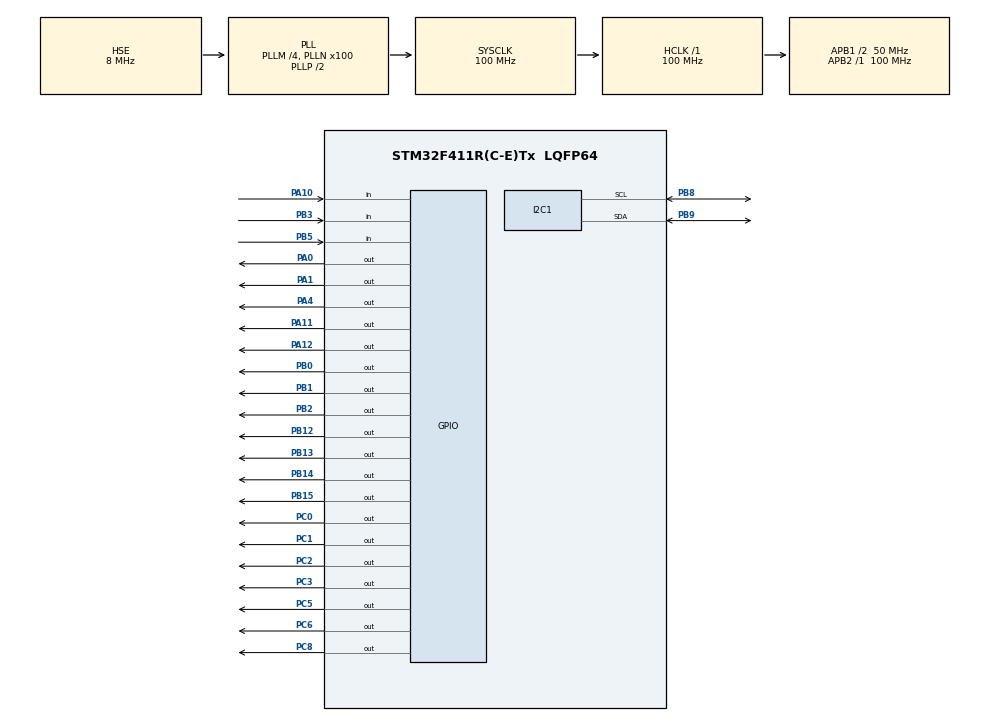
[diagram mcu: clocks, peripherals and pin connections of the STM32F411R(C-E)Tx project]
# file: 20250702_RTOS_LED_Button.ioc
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FREERTOS.Mutexes01=LcdMutex,Dynamic,NULL,Available
FREERTOS.Queues01=btnLedQueue,16,uint16_t,0,Dynamic,NULL,NULL
FREERTOS.Tasks01=defaultTask,0,128,StartDefaultTask,Default,NULL,Dynamic,NULL,NULL;nyButtonTask,0,128,StartButtonTask,Default,NULL,Dynamic,NULL,NULL;myLedTask,0,128,StartLedTask,Default,NULL,Dynamic,NULL,NULL;myFNDTask,0,128,StartFNDTask,Default,NULL,Dynamic,NULL,NULL
FREERTOS.configUSE_NEWLIB_REENTRANT=1
Mcu.Family=STM32F4
Mcu.Name=STM32F411R(C-E)Tx
Mcu.Package=LQFP64
NVIC.PriorityGroup=NVIC_PRIORITYGROUP_4
NVIC.TIM1_TRG_COM_TIM11_IRQn=true\:15\:0\:false\:false\:true\:false\:false\:true\:true
NVIC.TIM2_IRQn=true\:5\:0\:false\:false\:true\:true\:true\:true\:true
NVIC.TimeBase=TIM1_TRG_COM_TIM11_IRQn
NVIC.TimeBaseIP=TIM11
PA0-WKUP.Signal=GPIO_Output
PA1.Signal=GPIO_Output
PA10.Signal=GPIO_Input
PA11.Signal=GPIO_Output
PA12.Signal=GPIO_Output
PA13.Mode=Serial_Wire
PA13.Signal=SYS_JTMS-SWDIO
PA14.Mode=Serial_Wire
PA14.Signal=SYS_JTCK-SWCLK
PA4.Signal=GPIO_Output
PB0.Signal=GPIO_Output
PB1.Signal=GPIO_Output
PB12.Signal=GPIO_Output
PB13.Signal=GPIO_Output
PB14.Signal=GPIO_Output
PB15.Signal=GPIO_Output
PB2.Signal=GPIO_Output
PB3.Signal=GPIO_Input
PB5.Signal=GPIO_Input
PB8.Mode=I2C
PB8.Signal=I2C1_SCL
PB9.Mode=I2C
PB9.Signal=I2C1_SDA
PC0.Signal=GPIO_Output
PC1.Signal=GPIO_Output
PC2.Signal=GPIO_Output
PC3.Signal=GPIO_Output
PC5.Signal=GPIO_Output
PC6.Signal=GPIO_Output
PC8.Signal=GPIO_Output
PH0\ -\ OSC_IN.Mode=HSE-External-Oscillator
PH0\ -\ OSC_IN.Signal=RCC_OSC_IN
PH1\ -\ OSC_OUT.Mode=HSE-External-Oscillator
PH1\ -\ OSC_OUT.Signal=RCC_OSC_OUT
ProjectManager.HeapSize=0x200
ProjectManager.StackSize=0x400
ProjectManager.TargetToolchain=STM32CubeIDE
RCC.48MHZClocksFreq_Value=50000000
RCC.AHBFreq_Value=100000000
RCC.APB1CLKDivider=RCC_HCLK_DIV2
RCC.APB1Freq_Value=50000000
RCC.APB1TimFreq_Value=100000000
RCC.APB2Freq_Value=100000000
RCC.APB2TimFreq_Value=100000000
RCC.CortexFreq_Value=100000000
RCC.HCLKFreq_Value=100000000
RCC.HSE_VALUE=8000000
RCC.HSI_VALUE=16000000
RCC.LSE_VALUE=32768
RCC.PLLM=4
RCC.PLLN=100
RCC.PLLSourceVirtual=RCC_PLLSOURCE_HSE
RCC.SYSCLKFreq_VALUE=100000000
RCC.SYSCLKSource=RCC_SYSCLKSOURCE_PLLCLK
RCC.VCOOutputFreq_Value=200000000
TIM2.AutoReloadPreload=TIM_AUTORELOAD_PRELOAD_ENABLE
TIM2.Period=1000-1
TIM2.Prescaler=100-1
VP_FREERTOS_VS_CMSIS_V1.Mode=CMSIS_V1
VP_SYS_VS_tim11.Mode=TIM11
VP_TIM2_VS_ClockSourceINT.Mode=Internal
board=custom

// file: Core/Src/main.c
/* USER CODE BEGIN Header */
/**
  ******************************************************************************
  * @file           : main.c
  * @brief          : Main program body
  ******************************************************************************
  * @attention
  *
  * Copyright (c) 2025 STMicroelectronics.
  * All rights reserved.
  *
  * This software is licensed under terms that can be found in the LICENSE file
  * in the root directory of this software component.
  * If no LICENSE file comes with this software, it is provided AS-IS.
  *
  ******************************************************************************
  */
/* USER CODE END Header */
#include "main.h"
#include "cmsis_os.h"
#include "i2c.h"
#include "tim.h"
#include "gpio.h"
#include "FND.h"

void SystemClock_Config(void);
void MX_FREERTOS_Init(void);

int main(void)
{

  /* MCU Configuration--------------------------------------------------------*/

  /* Reset of all peripherals, Initializes the Flash interface and the Systick. */
  HAL_Init();

  /* Configure the system clock */
  SystemClock_Config();

  /* Initialize all configured peripherals */
  MX_GPIO_Init();
  MX_I2C1_Init();
  MX_TIM2_Init();

  /* Call init function for freertos objects (in cmsis_os2.c) */
  MX_FREERTOS_Init();

  /* Start scheduler */
  osKernelStart();

  /* We should never get here as control is now taken by the scheduler */

  /* Infinite loop */
  while (1)
  {

  }
}

void SystemClock_Config(void)
{
  RCC_OscInitTypeDef RCC_OscInitStruct = {0};
  RCC_ClkInitTypeDef RCC_ClkInitStruct = {0};

  /** Configure the main internal regulator output voltage
  */
  __HAL_RCC_PWR_CLK_ENABLE();
  __HAL_PWR_VOLTAGESCALING_CONFIG(PWR_REGULATOR_VOLTAGE_SCALE1);

  /** Initializes the RCC Oscillators according to the specified parameters
  * in the RCC_OscInitTypeDef structure.
  */
  RCC_OscInitStruct.OscillatorType = RCC_OSCILLATORTYPE_HSE;
  RCC_OscInitStruct.HSEState = RCC_HSE_ON;
  RCC_OscInitStruct.PLL.PLLState = RCC_PLL_ON;
  RCC_OscInitStruct.PLL.PLLSource = RCC_PLLSOURCE_HSE;
  RCC_OscInitStruct.PLL.PLLM = 4;
  RCC_OscInitStruct.PLL.PLLN = 100;
  RCC_OscInitStruct.PLL.PLLP = RCC_PLLP_DIV2;
  RCC_OscInitStruct.PLL.PLLQ = 4;
  if (HAL_RCC_OscConfig(&RCC_OscInitStruct) != HAL_OK)
  {
    Error_Handler();
  }

  /** Initializes the CPU, AHB and APB buses clocks
  */
  RCC_ClkInitStruct.ClockType = RCC_CLOCKTYPE_HCLK|RCC_CLOCKTYPE_SYSCLK
                              |RCC_CLOCKTYPE_PCLK1|RCC_CLOCKTYPE_PCLK2;
  RCC_ClkInitStruct.SYSCLKSource = RCC_SYSCLKSOURCE_PLLCLK;
  RCC_ClkInitStruct.AHBCLKDivider = RCC_SYSCLK_DIV1;
  RCC_ClkInitStruct.APB1CLKDivider = RCC_HCLK_DIV2;
  RCC_ClkInitStruct.APB2CLKDivider = RCC_HCLK_DIV1;

  if (HAL_RCC_ClockConfig(&RCC_ClkInitStruct, FLASH_LATENCY_3) != HAL_OK)
  {
    Error_Handler();
  }
}

void HAL_TIM_PeriodElapsedCallback(TIM_HandleTypeDef *htim)
{
  if (htim->Instance == TIM11)
  {
    HAL_IncTick();
  }

  /* USER CODE BEGIN Callback 1 */
	  if(htim->Instance == TIM2) {
		 FND_DispDataCallBack();
	  }
  /* USER CODE END Callback 1 */
}

void Error_Handler(void)
{
  __disable_irq();
  while (1)
  {
  }
}

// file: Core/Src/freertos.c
/* USER CODE BEGIN Header */
/**
  ******************************************************************************
  * File Name          : freertos.c
  * Description        : Code for freertos applications
  ******************************************************************************
  * @attention
  *
  * Copyright (c) 2025 STMicroelectronics.
  * All rights reserved.
  *
  * This software is licensed under terms that can be found in the LICENSE file
  * in the root directory of this software component.
  * If no LICENSE file comes with this software, it is provided AS-IS.
  *
  ******************************************************************************
  */
/* USER CODE END Header */

#include "FreeRTOS.h"
#include "task.h"
#include "main.h"
#include "cmsis_os.h"

/* USER CODE BEGIN Includes */
#include "Button.h"
#include "LedBar.h"
#include "my_queue.h"
#include "lcd.h"
#include <stdio.h>
#include "tim.h"
#include "FND.h"
/* USER CODE END Includes */

/* USER CODE BEGIN PTD */
typedef struct {
	int id;
}btn_led_t;

enum {BTN_LED1, BTN_LED2, BTN_LED3};
enum {START, STOP, CLEAR};
/* USER CODE END PTD */

/* USER CODE BEGIN Variables */

//btn_led_t btnData;

osMailQDef(btnMail, 4, btn_led_t);
osMailQId btnMail;

osMailQDef(btnFndMail, 4, btn_led_t);
osMailQId btnFndMail;

/* USER CODE END Variables */
osThreadId defaultTaskHandle;
osThreadId nyButtonTaskHandle;
osThreadId myLedTaskHandle;
osThreadId myFNDTaskHandle;
osMessageQId btnLedQueueHandle;
osMutexId LcdMutexHandle;

void StartDefaultTask(void const * argument);
void StartButtonTask(void const * argument);
void StartLedTask(void const * argument);
void StartFNDTask(void const * argument);

void MX_FREERTOS_Init(void); /* (MISRA C 2004 rule 8.1) */

/* GetIdleTaskMemory prototype (linked to static allocation support) */
void vApplicationGetIdleTaskMemory( StaticTask_t **ppxIdleTaskTCBBuffer, StackType_t **ppxIdleTaskStackBuffer, uint32_t *pulIdleTaskStackSize );

/* USER CODE BEGIN GET_IDLE_TASK_MEMORY */
static StaticTask_t xIdleTaskTCBBuffer;
static StackType_t xIdleStack[configMINIMAL_STACK_SIZE];

void vApplicationGetIdleTaskMemory( StaticTask_t **ppxIdleTaskTCBBuffer, StackType_t **ppxIdleTaskStackBuffer, uint32_t *pulIdleTaskStackSize )
{
  *ppxIdleTaskTCBBuffer = &xIdleTaskTCBBuffer;
  *ppxIdleTaskStackBuffer = &xIdleStack[0];
  *pulIdleTaskStackSize = configMINIMAL_STACK_SIZE;
  /* place for user code */
}
/* USER CODE END GET_IDLE_TASK_MEMORY */

void MX_FREERTOS_Init(void) {
  /* Create the mutex(es) */
  /* definition and creation of LcdMutex */
  osMutexDef(LcdMutex);
  LcdMutexHandle = osMutexCreate(osMutex(LcdMutex));

  /* Create the queue(s) */
  /* definition and creation of btnLedQueue */
  osMessageQDef(btnLedQueue, 16, uint16_t);
  btnLedQueueHandle = osMessageCreate(osMessageQ(btnLedQueue), NULL);

  /* USER CODE BEGIN RTOS_QUEUES */
  /* add queues, ... */
  btnMail = osMailCreate(osMailQ(btnMail), NULL);
  btnFndMail = osMailCreate(osMailQ(btnFndMail), NULL);
  /* USER CODE END RTOS_QUEUES */

  /* Create the thread(s) */
  /* definition and creation of defaultTask */
  osThreadDef(defaultTask, StartDefaultTask, osPriorityNormal, 0, 128);
  defaultTaskHandle = osThreadCreate(osThread(defaultTask), NULL);

  /* definition and creation of nyButtonTask */
  osThreadDef(nyButtonTask, StartButtonTask, osPriorityNormal, 0, 128);
  nyButtonTaskHandle = osThreadCreate(osThread(nyButtonTask), NULL);

  /* definition and creation of myLedTask */
  osThreadDef(myLedTask, StartLedTask, osPriorityNormal, 0, 128);
  myLedTaskHandle = osThreadCreate(osThread(myLedTask), NULL);

  /* definition and creation of myFNDTask */
  osThreadDef(myFNDTask, StartFNDTask, osPriorityNormal, 0, 128);
  myFNDTaskHandle = osThreadCreate(osThread(myFNDTask), NULL);

  /* USER CODE BEGIN RTOS_THREADS */
  /* add threads, ... */
  HAL_TIM_Base_Start_IT(&htim2);
  /* USER CODE END RTOS_THREADS */

}

void StartDefaultTask(void const * argument)
{
  for(;;)
  {
    osDelay(1);
  }
}

void StartButtonTask(void const * argument)
{
  /* USER CODE BEGIN StartButtonTask */
	  Button_Init(&hBtnLed1, GPIOB, GPIO_PIN_5);
	  Button_Init(&hBtnLed2, GPIOB, GPIO_PIN_3);
	  Button_Init(&hBtnLed3, GPIOA, GPIO_PIN_10);
	  MyQue_Init(&qBtnLed, sizeof(btn_led_t));
	  LCD_Init(&hi2c1);
	  btn_led_t *btnData;
	  btn_led_t *btnFndData;

	  char str[30];
	  uint32_t counter = 0;
  /* Infinite loop */
  for(;;)
  {
	  if(Button_GetState(&hBtnLed1) == ACT_RELEASED)
	  {	  btnData= osMailAlloc(btnMail, osWaitForever);
	  	  btnFndData= osMailAlloc(btnFndMail, osWaitForever);
		  btnData->id = BTN_LED1;
		  btnFndData->id = START;
		  osMailPut(btnMail, btnData);
		  osMailPut(btnFndMail, btnFndData);

	        osMutexWait(LcdMutexHandle, osWaitForever);
	        LCD_writeStringXY(0, 0, "BTN1");
	        osMutexRelease(LcdMutexHandle);
	  }

	  else if(Button_GetState(&hBtnLed2) == ACT_RELEASED)
	  {
		  btnData= osMailAlloc(btnMail, osWaitForever);
		  btnFndData= osMailAlloc(btnFndMail, osWaitForever);
		  		  btnData->id = BTN_LED2;
		  		btnFndData->id = STOP;
		  		  osMailPut(btnMail, btnData);
		  		osMailPut(btnFndMail, btnFndData);

		  osMutexWait(LcdMutexHandle, osWaitForever);
		  LCD_writeStringXY(0, 0, "BTN2");
		  osMutexRelease(LcdMutexHandle);
	  }
	  else if(Button_GetState(&hBtnLed3) == ACT_RELEASED)
	  {
		  btnData= osMailAlloc(btnMail, osWaitForever);
		  btnFndData= osMailAlloc(btnFndMail, osWaitForever);

		  		  btnData->id = BTN_LED3;
		  		btnFndData->id = CLEAR;

		  		  osMailPut(btnMail, btnData);
		  		  osMailPut(btnFndMail, btnFndData);

		  		osMutexWait(LcdMutexHandle, osWaitForever);
		  LCD_writeStringXY(0, 0, "BTN3");
		  osMutexRelease(LcdMutexHandle);
	  }
	  sprintf(str, "counter %d", (unsigned int)counter ++);
	  osMutexWait(LcdMutexHandle, osWaitForever);
	  LCD_writeStringXY(0, 5, str);
	  osMutexRelease(LcdMutexHandle);
    osDelay(100);
  }
  /* USER CODE END StartButtonTask */
}

void StartLedTask(void const * argument)
{
  /* USER CODE BEGIN StartLedTask */
	uint32_t prevTime = 0 , curTime = 0;
	btn_led_t *btnData;
	uint32_t ledData;
	osEvent evt;
	  char str[30];
	  uint32_t counter = 0;
  /* Infinite loop */
  for(;;)
  {		curTime = HAL_GetTick();
  	  	  if(curTime - prevTime >= 500) {
  	  		  prevTime = curTime;
  	  		  ledData ^= (1<<0);
  	  		  LedBar_Write(ledData);
  	  	  }
  	  evt = osMailGet(btnMail, 0);
  	  if(evt.status == osEventMail)
  	  {
  		  btnData = evt.value.p;
		  if(btnData->id == BTN_LED1){
			  ledData ^= (1<<1);
			  LedBar_Write(ledData);
			  osMutexWait(LcdMutexHandle, osWaitForever);
			  LCD_writeStringXY(1, 0, "LED1");
			  osMutexRelease(LcdMutexHandle);
		  }
		  else if (btnData->id == BTN_LED2) {
			  ledData ^= (1<<2);
			  LedBar_Write(ledData);
			  osMutexWait(LcdMutexHandle, osWaitForever);
			  LCD_writeStringXY(1, 0, "LED2");
			  osMutexRelease(LcdMutexHandle);

		  }
		  else if (btnData->id == BTN_LED3) {
			  ledData ^= (1<<3);
			  LedBar_Write(ledData);
			  osMutexWait(LcdMutexHandle, osWaitForever);
			  LCD_writeStringXY(1, 0, "LED3");
			  osMutexRelease(LcdMutexHandle);
		  }
		  osMailFree(btnMail, btnData);
	  }
	  sprintf(str, "counter %d", (unsigned int)counter ++);
	  osMutexWait(LcdMutexHandle, osWaitForever);
	  LCD_writeStringXY(1, 5, str);
	  osMutexRelease(LcdMutexHandle);
    osDelay(100);
  }
  /* USER CODE END StartLedTask */
}

void StartFNDTask(void const * argument)
{
  /* USER CODE BEGIN StartFNDTask */
	uint16_t counter = 0;
	uint32_t state = STOP;
	btn_led_t *btnFndData;
  /* Infinite loop */
  for(;;)
  {

	  FND_WriteData(counter);
	  osEvent evt;

       evt = osMailGet(btnFndMail, 0);
      	  if(evt.status == osEventMail)
      	  {
      		  btnFndData = evt.value.p;
    		  if(btnFndData->id == START){
    			  state = START;
    		  }
    		  else if (btnFndData->id == STOP) {
    			  state = STOP;
    		  }
    		  else if (btnFndData->id == CLEAR) {
    			  state = STOP;
    			  counter = 0;
    		  }
    		  osMailFree(btnFndMail, btnFndData);
    	  }

	  	if(state == START) {
	  		counter++;
	  	}

      	osDelay(100);

  }
  /* USER CODE END StartFNDTask */
}
